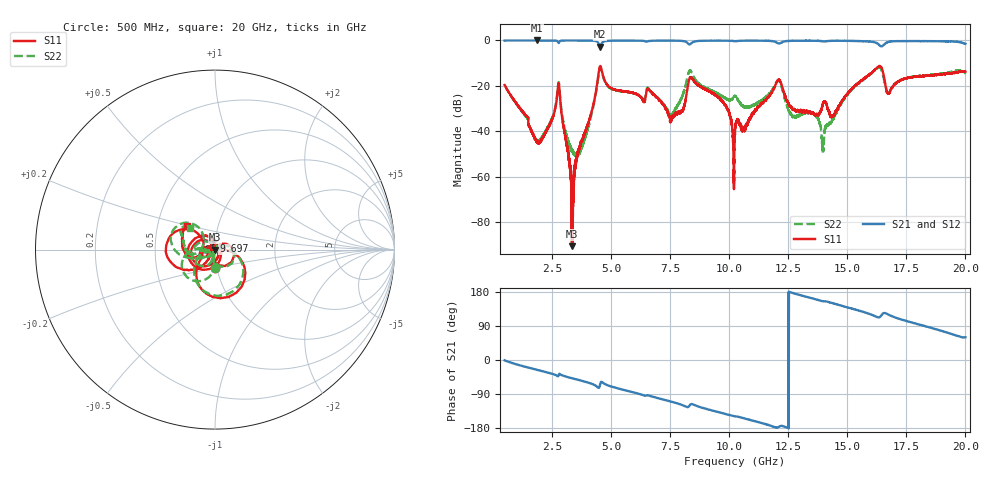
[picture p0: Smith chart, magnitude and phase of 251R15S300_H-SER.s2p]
!{251R15S300}
!Johanson Technology Inc.
!www.johansontechnology.com
!Test Board Conditions:
!Substrate Type  RO4350B
!Substrate Thickness  20 mil
!Substrate Dk  3.66
!TL Type: GCPW
!TL Trace Width  34 mil
!TL Gap  10 mil
!Electrode orientation  Horizontal
!DUT TOPOLOGY	SERIES
!Mounting Pad LxW  26x52 mil
! Created Thu Mar 12 17:12:32 2020
# mhz S ma R 50
! 2 Port Network Data from SP1.SP block
! freq  magS11  angS11  magS21  angS21  magS12  angS12  magS22  angS22
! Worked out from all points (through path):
!   19501 points, 500 MHz to 20 GHz, reference 50 ohm
!   highest |S21| = 0.00 dB at 1.885 GHz (marker M1); lowest = -2.7 dB at 4.539 GHz (marker M2)
!   group delay of S21, straight-line fit = 41.5 ps
!   lowest |S11| = -90.5 dB at 3.349 GHz (marker M3), VSWR 1.00, Z = 50 - j2.43e-05 ohm
!   |S11| at or under -10 dB: start of sweep to end of sweep
!   |S22| runs from -51.5 to -11.7 dB; largest |S21 - S12| = 0.02
!   S11 on the Smith chart (normalised r, x): 500 MHz: 0.97, -0.21; 9.697 GHz: 0.98, +0.09; 20 GHz: 0.71, +0.20
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500  0.1047 -91.3  0.9931 -0.8  0.9937 -0.8  0.1042 -90.7
1885  0.005648 171.3  0.9999 -26.1  0.9987 -26.1  0.006097 -42.8
2787  0.116 -35.4  0.8778 -39.8  0.8789 -39.9  0.1215 -37.4
3349  2.972e-05 -179.5  0.9964 -48.0  0.997 -48.1  0.003868 -49.4
3750  0.006014 -9.6  0.9956 -54.7  0.9947 -54.7  0.004603 21.6
4539  0.2726 -71.0  0.7304 -65.4  0.7308 -65.4  0.258 -73.2
5029  0.08791 -149.3  0.987 -70.3  0.9873 -70.2  0.08606 -164.4
7000  0.05204 164.8  0.9911 -100.8  0.9914 -100.8  0.05338 -179.8
7587  0.02164 85.3  0.9906 -110.5  0.9908 -110.5  0.02285 -118.8
8050  0.03027 0.2  0.9687 -119.8  0.97 -119.8  0.06487 -95.1
8357  0.1526 -154.5  0.8273 -117.8  0.8276 -117.7  0.2177 -142.3
9697  0.04792 100.6  0.9878 -140.0  0.9893 -140.0  0.05973 176.7
10250  0.009184 175.5  0.9641 -148.7  0.9633 -148.6  0.05955 -166.6
10874  0.01934 -28.8  0.9894 -157.9  0.9899 -157.9  0.03469 -135.8
12082  0.1359 -155.0  0.8639 -177.6  0.8643 -177.6  0.1338 -155.7
12644  0.03324 124.2  0.9819 177.7  0.9823 177.7  0.02275 74.9
13500  0.02496 138.8  0.9867 162.9  0.9844 163.0  0.02499 2.0
13985  0.04179 177.2  0.9566 155.1  0.9544 154.9  0.003808 7.8
14385  0.02195 -167.6  0.9825 149.7  0.9817 149.8  0.01833 -74.2
16257  0.249 -160.8  0.8697 113.5  0.8687 113.5  0.242 173.2
16750  0.06848 178.2  0.9318 119.8  0.9267 119.7  0.07168 166.3
20000  0.2063 139.4  0.8455 60.0  0.8431 60.3  0.1865 139.1
